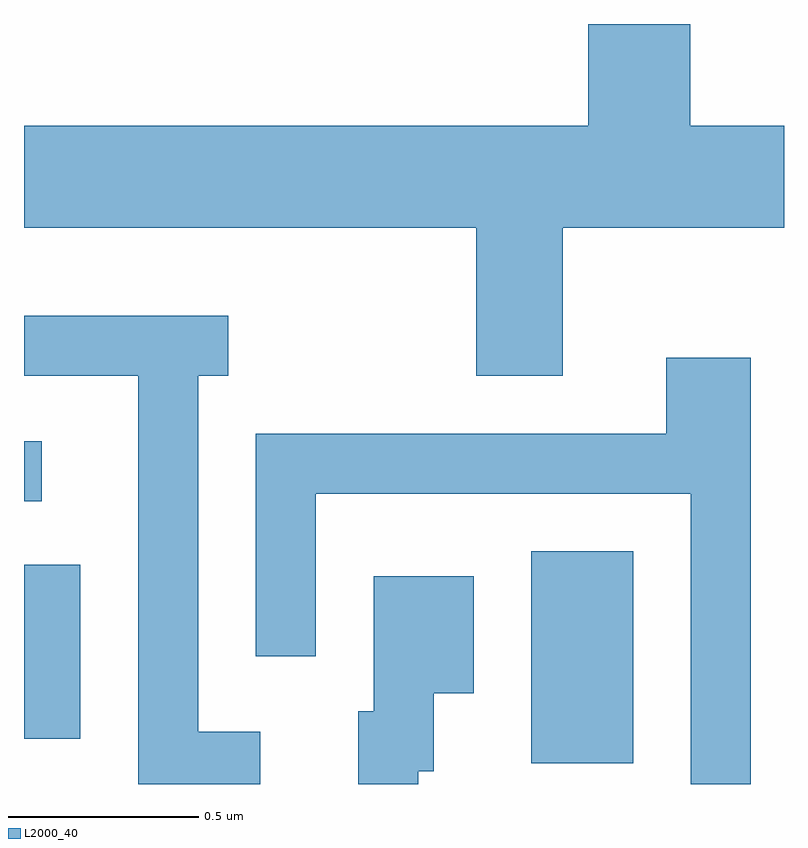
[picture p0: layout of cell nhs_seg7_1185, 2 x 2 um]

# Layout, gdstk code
import gdstk
lib = gdstk.Library(unit=1e-6, precision=1e-09)
def R(c, l, rs):  # rectangles x0, y0, x1, y1
    for r in rs: c.add(gdstk.rectangle(r[:2], r[2:], *l))
def P(c, l, *ps):  # polygons
    for p in ps: c.add(gdstk.Polygon(p, *l))
L2000_40 = (2000, 40)

nhs_seg7_1185 = lib.new_cell('nhs_seg7_1185')
R(nhs_seg7_1185, L2000_40, [(194.946,1757.306,195.214,1757.864), (193.611,1757.371,193.759,1757.829), (193.611,1757.996,193.658,1758.154)])
P(nhs_seg7_1185, L2000_40, [(195.029,1758.716),(195.611,1758.716),(195.611,1758.984),(195.364,1758.984),(195.364,1759.252),(195.096,1759.252),(195.096,1758.984),(193.611,1758.984),(193.611,1758.716),(194.801,1758.716),(194.801,1758.326),(195.029,1758.326)],
  [(194.233,1757.389),(194.069,1757.389),(194.069,1758.326),(194.148,1758.326),(194.148,1758.484),(193.611,1758.484),(193.611,1758.326),(193.911,1758.326),(193.911,1757.252),(194.233,1757.252)],
  [(195.524,1758.374),(195.301,1758.374),(195.301,1758.174),(194.221,1758.174),(194.221,1757.588),(194.379,1757.588),(194.379,1758.016),(195.366,1758.016),(195.366,1757.252),(195.524,1757.252)],
  [(194.649,1757.286),(194.689,1757.286),(194.689,1757.491),(194.794,1757.491),(194.794,1757.799),(194.531,1757.799),(194.531,1757.444),(194.491,1757.444),(194.491,1757.252),(194.649,1757.252)])

lib.write_gds('nhs_seg7_1185.gds')
